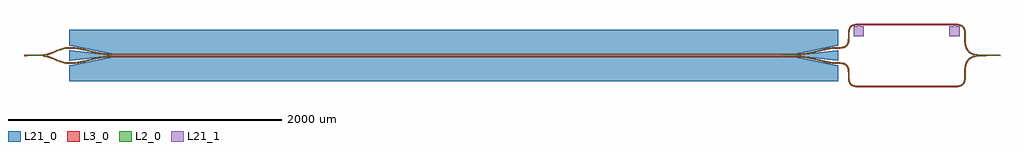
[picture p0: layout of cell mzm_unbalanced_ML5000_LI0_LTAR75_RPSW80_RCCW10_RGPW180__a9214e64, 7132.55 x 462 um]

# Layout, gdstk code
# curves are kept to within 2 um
import gdstk
lib = gdstk.Library(unit=1e-6, precision=1e-09)
def P(c, l, *ps):  # polygons
    for p in ps: c.add(gdstk.Polygon(p, *l))
L2_0 = (2, 0)
L3_0 = (3, 0)
L21_0 = (21, 0)
L21_1 = (21, 1)

uni_cpw_straight_l5000_c = lib.new_cell('uni_cpw_straight_L5000_CSFxs_uni_cpw_Mlnoi400ptech_SCCW_fd7320c4')
P(uni_cpw_straight_l5000_c, L21_0, [(-310,-189),(-310,-72),(-300,-72),(0,-9),(5000,-9),(5300,-72),(5310,-72),(5310,-189)],
  [(-310,-40),(-310,40),(-300,40),(0,5),(5000,5),(5300,40),(5310,40),(5310,-40),(5300,-40),(5000,-5),(0,-5),(-300,-40)],
  [(0,9),(-300,72),(-310,72),(-310,189),(5310,189),(5310,72),(5300,72),(5000,9)])

c__mzm_interferometer_smmi = lib.new_cell('_mzm_interferometer_Smmi2x2_optimized1550_TL100_RCWM2p5_15400b98')
P(c__mzm_interferometer_smmi, L2_0, [(6075.115,-226.5),(6061.958,-226.285),(6051.847,-225.475),(6047.158,-224.777),(6042.84,-223.898),(6038.903,-222.862),(6035.034,-221.587),(6031.256,-220.053),(6027.599,-218.243),(6024.382,-216.331),(6021.055,-213.959),(6018.207,-211.522),(6015.816,-209.091),(6013.425,-206.206),(6011.285,-203.132),(6008.173,-197.471),(6005.545,-190.841),(6003.677,-183.968),(6002.325,-175.953),(6001.698,-169.216),(6001.375,-161.454),(6001.283,-124.603),(6000.986,-114.189),(6000.545,-108.502),(5999.814,-102.852),(5998.946,-98.246),(5997.703,-93.386),(5995.727,-87.708),(5993.323,-82.571),(5990.55,-78.018),(5987.265,-73.827),(5983.472,-70.096),(5979.507,-67.061),(5974.639,-64.165),(5969.472,-61.826),(5965.054,-60.29),(5960.207,-59),(5954.948,-57.986),(5949.298,-57.255),(5939.584,-56.638),(5913.777,-56.397),(5897.331,-55.577),(5886.903,-54.668),(5876.477,-53.487),(5865.652,-51.999),(5854.025,-50.135),(5834.785,-46.535),(5813.946,-42.067),(5793.913,-37.393),(5742.647,-24.961),(5716.623,-19.102),(5703.814,-16.493),(5691.007,-14.127),(5678.601,-12.11),(5666.598,-10.455),(5655.396,-9.208),(5645.396,-8.363),(5635.397,-7.793),(5626.199,-7.531),(5597.608,-7.566),(5517.81,-8.25),(5517.81,-5.75),(5629.422,-6.593),(5647.071,-7.483),(5656.697,-8.332),(5666.321,-9.413),(5677.948,-11.001),(5689.976,-12.934),(5702.402,-15.201),(5716.429,-18.039),(5743.277,-24.082),(5792.544,-36.036),(5814.967,-41.272),(5835.383,-45.635),(5854.995,-49.286),(5865.799,-51.01),(5876.602,-52.495),(5887.004,-53.673),(5897.004,-54.55),(5913.402,-55.387),(5939.954,-55.65),(5949.735,-56.295),(5955.775,-57.108),(5961.09,-58.18),(5966.319,-59.639),(5970.783,-61.275),(5976.001,-63.757),(5980.63,-66.621),(5984.638,-69.788),(5988.461,-73.675),(5991.756,-78.013),(5994.522,-82.701),(5996.905,-87.963),(5998.851,-93.755),(5999.994,-98.363),(6000.906,-103.364),(6001.573,-108.738),(6002.003,-114.471),(6002.283,-124.595),(6002.355,-160.424),(6002.578,-167.14),(6003.055,-173.498),(6003.95,-180.139),(6005.274,-186.358),(6006.926,-191.794),(6009.078,-197.044),(6011.95,-202.312),(6015.253,-206.908),(6019.134,-211.018),(6023.544,-214.56),(6028.666,-217.68),(6034.439,-220.295),(6040.473,-222.268),(6047.331,-223.793),(6052.636,-224.563),(6058.314,-225.082),(6064.688,-225.383),(6073.096,-225.497),(6782.187,-225.49),(6794.616,-225.126),(6799.965,-224.675),(6804.948,-224.014),(6809.554,-223.146),(6813.772,-222.089),(6817.908,-220.762),(6821.935,-219.14),(6825.815,-217.204),(6829.231,-215.125),(6832.45,-212.757),(6835.192,-210.333),(6837.704,-207.672),(6840.168,-204.528),(6842.343,-201.173),(6844.234,-197.646),(6846.562,-192.108),(6848.408,-186.034),(6849.761,-179.479),(6850.672,-172.162),(6851.071,-166.134),(6851.256,-159.751),(6851.325,-120.545),(6851.674,-105.359),(6852.152,-97.266),(6852.81,-90.199),(6853.739,-83.159),(6854.919,-76.497),(6856.509,-69.571),(6858.606,-62.424),(6861.059,-55.747),(6863.836,-49.564),(6867.067,-43.603),(6870.572,-38.196),(6874.292,-33.353),(6878.401,-28.831),(6882.625,-24.9),(6887.419,-21.115),(6892.493,-17.719),(6897.8,-14.707),(6903.611,-11.931),(6909.592,-9.551),(6916.031,-7.45),(6922.579,-5.731),(6929.206,-4.36),(6935.887,-3.3),(6943.612,-2.416),(6951.698,-1.811),(6965.196,-1.338),(7006.05,-1),(7006.05,1),(6965.196,1.338),(6951.698,1.811),(6943.612,2.416),(6935.887,3.3),(6928.873,4.421),(6922.25,5.808),(6915.057,7.74),(6908.004,10.14),(6901.448,12.906),(6895.711,15.833),(6889.924,19.369),(6884.718,23.17),(6880.102,27.171),(6875.619,31.807),(6871.769,36.549),(6868.49,41.293),(6865.233,46.851),(6862.392,52.631),(6859.834,58.906),(6857.692,65.331),(6855.858,72.2),(6854.41,79.156),(6853.396,85.502),(6852.63,91.88),(6852.008,99.288),(6851.618,106.709),(6851.325,120.545),(6851.277,158.069),(6850.882,169.486),(6850.283,175.83),(6849.474,181.129),(6848.326,186.358),(6846.893,191.162),(6844.379,197.346),(6841.472,202.594),(6837.92,207.419),(6833.723,211.685),(6828.953,215.309),(6823.446,218.434),(6817.594,220.874),(6810.859,222.848),(6804.617,224.066),(6797.962,224.872),(6790.591,225.327),(6780.841,225.496),(6052.052,225.5),(6061.621,226.27),(6074.104,226.499),(6779.496,226.499),(6788.604,226.392),(6796.366,226.007),(6802.76,225.346),(6809.105,224.265),(6815.672,222.566),(6822.033,220.191),(6827.773,217.231),(6832.813,213.748),(6837.088,209.841),(6840.784,205.385),(6844.205,199.901),(6846.905,194.037),(6848.662,188.897),(6850.065,183.305),(6851.1,177.296),(6851.754,171.24),(6852.256,159.766),(6852.336,119.204),(6852.786,103.05),(6853.34,94.995),(6854.251,86.639),(6855.454,79.004),(6856.909,72.103),(6859.043,64.334),(6861.734,56.746),(6864.882,49.707),(6868.445,43.253),(6872.37,37.416),(6877.039,31.721),(6882.019,26.764),(6887.466,22.32),(6893.017,18.571),(6898.859,15.285),(6905.244,12.32),(6912.15,9.718),(6919.547,7.512),(6927.074,5.783),(6935.024,4.431),(6944.04,3.38),(6956.125,2.594),(6970.602,2.275),(7006.05,2.5),(7082.55,2.5),(7107.55,2.25),(7107.55,1.25),(7082.55,1),(7082.55,-1),(7107.55,-1.25),(7107.55,-2.25),(7082.55,-2.5),(7006.05,-2.5),(6969.254,-2.286),(6953.1,-2.736),(6939.691,-3.829),(6931.702,-4.942),(6924.116,-6.406),(6916.957,-8.223),(6910.248,-10.378),(6904.011,-12.847),(6897.67,-15.906),(6891.882,-19.283),(6886.663,-22.923),(6881.277,-27.441),(6876.591,-32.219),(6872.172,-37.686),(6868.098,-43.826),(6864.438,-50.609),(6861.487,-57.37),(6858.845,-64.976),(6856.755,-72.756),(6855.334,-79.665),(6854.207,-86.972),(6853.34,-94.995),(6852.786,-103.05),(6852.336,-119.204),(6852.261,-159.429),(6851.781,-170.903),(6851.146,-176.96),(6850.134,-182.973),(6848.851,-188.245),(6847.15,-193.403),(6844.365,-199.601),(6841.179,-204.83),(6837.554,-209.343),(6833.343,-213.319),(6828.355,-216.877),(6822.654,-219.913),(6816.319,-222.361),(6809.768,-224.123),(6803.766,-225.205),(6797.04,-225.954),(6789.954,-226.35),(6780.844,-226.496)],
  [(5517.81,5.75),(5517.81,8.25),(5597.608,7.566),(5626.199,7.531),(5635.397,7.793),(5645.396,8.363),(5655.396,9.208),(5666.598,10.455),(5678.601,12.11),(5691.007,14.127),(5703.814,16.493),(5716.623,19.102),(5742.647,24.961),(5793.913,37.393),(5813.946,42.067),(5834.785,46.535),(5854.025,50.135),(5865.652,51.999),(5876.477,53.487),(5886.903,54.668),(5897.331,55.577),(5913.777,56.397),(5939.584,56.638),(5949.298,57.255),(5954.948,57.986),(5960.207,59),(5965.054,60.29),(5969.472,61.826),(5974.639,64.165),(5979.507,67.061),(5983.472,70.096),(5987.265,73.827),(5990.55,78.018),(5993.323,82.571),(5995.727,87.708),(5997.703,93.386),(5998.946,98.246),(5999.814,102.852),(6000.545,108.502),(6000.986,114.189),(6001.283,124.603),(6001.375,161.454),(6001.698,169.216),(6002.367,176.289),(6003.677,183.968),(6005.652,191.164),(6008.173,197.471),(6009.721,200.499),(6011.469,203.418),(6013.632,206.476),(6016.046,209.343),(6018.709,211.984),(6021.594,214.375),(6024.668,216.515),(6028.199,218.565),(6032.19,220.462),(6035.993,221.929),(6039.555,223.051),(6043.832,224.123),(6052.052,225.5),(6075.116,225.5),(6062.002,225.286),(6051.97,224.483),(6047.331,223.793),(6043.393,223),(6039.186,221.903),(6035.378,220.648),(6031.665,219.14),(6028.078,217.365),(6024.647,215.309),(6021.671,213.172),(6018.89,210.792),(6016.335,208.173),(6014.221,205.601),(6012.128,202.594),(6010.435,199.722),(6008.936,196.742),(6006.494,190.529),(6004.583,183.427),(6003.317,175.83),(6002.674,168.816),(6002.375,161.432),(6002.283,124.595),(6001.984,114.133),(6001.505,108.065),(6000.802,102.694),(5999.923,98.032),(5998.662,93.103),(5996.653,87.332),(5994.205,82.099),(5991.179,77.17),(5988.012,73.162),(5984.382,69.563),(5980.069,66.234),(5975.401,63.435),(5969.837,60.895),(5965.347,59.334),(5960.43,58.026),(5955.106,56.998),(5949.735,56.295),(5939.954,55.65),(5913.402,55.387),(5897.004,54.55),(5887.004,53.673),(5876.602,52.495),(5865.799,51.01),(5854.995,49.286),(5835.383,45.635),(5814.967,41.272),(5795.347,36.708),(5742.475,23.893),(5715.628,17.87),(5702.402,15.201),(5689.575,12.865),(5677.147,10.883),(5665.118,9.266),(5647.071,7.483),(5638.247,6.925),(5629.422,6.593)],
  [(301.8,-56.5),(290.526,-55.981),(279.661,-54.574),(267.596,-52.105),(255.136,-48.711),(243.888,-45.048),(230.638,-40.177),(184.114,-21.182),(165.285,-14.066),(145.671,-7.939),(128.074,-4.096),(117.684,-2.765),(107.698,-2.256),(0,-2.5),(-25,-2.25),(-25,-1.25),(0,-1),(0,1),(-25,1.25),(-25,2.25),(0,2.5),(108.097,2.261),(119.282,2.919),(130.873,4.582),(147.672,8.485),(166.887,14.633),(184.514,21.342),(229.836,39.867),(242.683,44.627),(254.333,48.467),(266.39,51.812),(278.052,54.297),(289.319,55.866),(300.189,56.489),(319.422,56.407),(335.467,55.635),(353.915,53.878),(372.759,51.259),(392.402,47.799),(414.444,43.229),(500.563,22.727),(536.59,15.203),(555.799,11.99),(575.003,9.533),(592.604,8.077),(609.401,7.509),(715.79,8.25),(5517.81,8.25),(5517.81,5.75),(715.79,5.75),(609.393,6.509),(591.743,7.127),(574.096,8.624),(555.652,11.001),(535.607,14.368),(498.737,22.12),(414.629,42.164),(392.213,46.817),(372.203,50.335),(353.397,52.932),(335.396,54.637),(318.998,55.417),(300.602,55.494),(289.817,54.91),(278.227,53.312),(266.629,50.841),(253.424,47.14),(229.796,38.779),(186.491,21.058),(170.837,15),(155.173,9.655),(141.106,5.742),(127.834,3.044),(115.358,1.573),(76.5,1),(76.5,-1),(108.514,-1.267),(116.164,-1.634),(129.041,-3.244),(143.116,-6.24),(156.78,-10.161),(171.64,-15.296),(228.594,-38.311),(253.024,-47.015),(266.629,-50.841),(278.227,-53.312),(289.817,-54.91),(300.602,-55.494),(318.998,-55.417),(335.396,-54.637),(353.397,-52.932),(372.203,-50.335),(392.213,-46.817),(414.629,-42.164),(498.737,-22.12),(535.607,-14.368),(555.652,-11.001),(574.096,-8.624),(591.743,-7.127),(609.393,-6.509),(715.79,-5.75),(5517.81,-5.75),(5517.81,-8.25),(715.79,-8.25),(609.401,-7.509),(592.604,-8.077),(575.003,-9.533),(555.799,-11.99),(536.59,-15.203),(500.563,-22.727),(414.444,-43.229),(392.402,-47.799),(372.759,-51.259),(353.915,-53.878),(336.269,-55.577),(319.823,-56.397)])
P(c__mzm_interferometer_smmi, L3_0, [(6076.8,-231),(6050.944,-229.897),(6035.206,-226.415),(6019.174,-218.186),(6007.693,-205.865),(6001.385,-192.594),(5997.903,-176.856),(5996.511,-114.767),(5993.968,-96.766),(5986.151,-79.598),(5978.202,-71.649),(5970.372,-67.092),(5950.76,-61.944),(5899.032,-60.208),(5857.711,-55.313),(5817.784,-47.534),(5695.797,-19.556),(5656.542,-13.845),(5630.078,-12.112),(611.8,-12),(577.058,-13.845),(537.803,-19.556),(415.816,-47.534),(375.889,-55.313),(334.568,-60.208),(301.8,-61),(276.026,-58.502),(253.016,-52.77),(164.98,-18.731),(134.736,-9.932),(111.882,-6.877),(76.5,-6.75),(76.5,-5),(0,-5),(0,-6.75),(-25,-6.75),(-25,6.75),(0,6.75),(0,5),(76.5,5),(76.5,6.75),(111.882,6.877),(128.898,8.8),(164.98,18.731),(253.016,52.77),(276.026,58.502),(301.8,61),(334.568,60.208),(375.889,55.313),(415.816,47.534),(537.803,19.556),(577.058,13.845),(611.8,12),(5630.078,12.112),(5656.542,13.845),(5695.797,19.556),(5817.784,47.534),(5857.711,55.313),(5899.032,60.208),(5950.76,61.944),(5970.372,67.092),(5978.202,71.649),(5986.151,79.598),(5993.968,96.766),(5996.511,114.767),(5997.903,176.856),(6001.385,192.594),(6007.693,205.865),(6015.132,214.808),(6023.369,221),(6076.8,221),(6056.682,220.445),(6039.269,217.222),(6025.398,210.351),(6015.761,199.919),(6010.578,188.531),(6007.744,174.96),(6006.457,113.533),(6003.373,93.222),(5999.498,82.612),(5993.986,73.374),(5987.064,65.931),(5976.844,59.114),(5964.578,54.427),(5952.656,52.103),(5896.152,49.972),(5858.13,45.248),(5820.738,37.945),(5704.866,11.095),(5668.493,5.151),(5636.85,2.352),(611.8,2),(573.21,4.194),(538.42,9.28),(375.47,45.248),(337.448,49.972),(301.8,51),(279.402,48.95),(254.368,42.72),(167.921,9.164),(136.009,0),(167.921,-9.164),(254.368,-42.72),(279.402,-48.95),(301.8,-51),(337.448,-49.972),(375.47,-45.248),(538.42,-9.28),(573.21,-4.194),(611.8,-2),(5629.125,-2.085),(5668.493,-5.151),(5704.866,-11.095),(5820.738,-37.945),(5858.13,-45.248),(5896.152,-49.972),(5952.656,-52.103),(5964.578,-54.427),(5976.844,-59.114),(5987.064,-65.931),(5993.986,-73.374),(5999.498,-82.612),(6003.373,-93.222),(6006.457,-113.533),(6007.355,-171.118),(6009.632,-185.234),(6012.892,-194.572),(6017.449,-202.402),(6025.398,-210.351),(6033.228,-214.908),(6045.934,-218.946),(6076.8,-221),(6788.452,-220.894),(6807.666,-218.946),(6823.103,-213.557),(6834.296,-204.733),(6840.708,-194.572),(6843.968,-185.234),(6846.245,-171.118),(6847.015,-109.611),(6849.136,-83.506),(6855.49,-57.68),(6864.892,-38.569),(6877.277,-23.651),(6891.049,-13.331),(6907.73,-5.44),(6928.086,0),(6904.756,6.577),(6886.237,16.436),(6871.771,29.372),(6860.44,46.301),(6852.513,67.084),(6848.262,90.389),(6846.694,162.652),(6844.746,181.866),(6840.708,194.572),(6836.151,202.402),(6823.103,213.557),(6807.666,218.946),(6783.493,220.98),(6023.369,221),(6042.869,228.518),(6069.676,230.976),(6789.417,230.87),(6810.731,228.518),(6826.844,222.886),(6839.556,213.756),(6848.686,201.044),(6853.373,188.778),(6856.15,172.652),(6857.297,102.954),(6861.211,73.464),(6866.644,56.64),(6872.955,44.522),(6880.793,34.284),(6892.198,24.472),(6914.807,13.581),(6945.762,7.745),(7006.05,6.75),(7006.05,5),(7082.55,5),(7082.55,6.75),(7107.55,6.75),(7107.55,-6.75),(7082.55,-6.75),(7082.55,-5),(7006.05,-5),(7006.05,-6.75),(6945.762,-7.745),(6926.362,-10.524),(6912.067,-14.508),(6899.223,-20.18),(6888.145,-27.472),(6872.955,-44.522),(6862.778,-67.528),(6857.795,-95.712),(6856.67,-163.617),(6854.318,-184.931),(6850.96,-196.02),(6845.907,-205.865),(6839.556,-213.756),(6831.665,-220.107),(6821.82,-225.16),(6810.731,-228.518),(6783.924,-230.976)])

heater_straight_single_l = lib.new_cell('heater_straight_single_L700_W1_O1p2_PCWR3_PS75_75_PPNone_PVO10')
P(heater_straight_single_l, L21_1, [(0,-1.7),(-7.895,9.3),(-37.5,9.3),(-37.5,84.3),(37.5,84.3),(37.5,9.3),(10.263,9.3),(3,-0.7),(697,-0.7),(689.737,9.3),(662.5,9.3),(662.5,84.3),(737.5,84.3),(737.5,9.3),(707.895,9.3),(700,-1.7)])

mzm_unbalanced_ml5000_li = lib.new_cell('mzm_unbalanced_ML5000_LI0_LTAR75_RPSW80_RCCW10_RGPW180__a9214e64')
mzm_unbalanced_ml5000_li.add(gdstk.Reference(uni_cpw_straight_l5000_c, (0,0)))
mzm_unbalanced_ml5000_li.add(gdstk.Reference(c__mzm_interferometer_smmi, (-616.8,0)))
mzm_unbalanced_ml5000_li.add(gdstk.Reference(heater_straight_single_l, (5458.5,223.6), x_reflection=True))

lib.write_gds('mzm_unbalanced_ML5000_LI0_LTAR75_RPSW80_RCCW10_RGPW180__a9214e64.gds')
